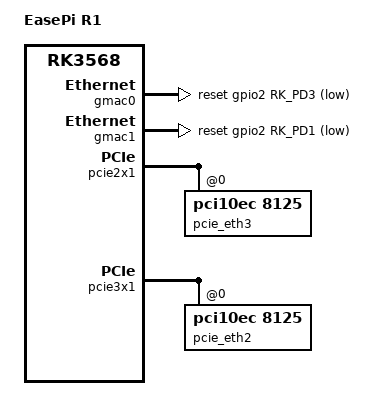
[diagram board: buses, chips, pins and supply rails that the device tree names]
// SPDX-License-Identifier: (GPL-2.0+ OR MIT)

/dts-v1/;

#include <rockchip/rk3568-easepi-r1.dts>
#include "rk3568-ip.dtsi"
#include "rk3568-ip-rk809.dtsi"

/ {
	compatible = "easepi,r1", "rockchip,rk3568";
	model = "EasePi R1";
	eth_order = "fe010000.ethernet,fe2a0000.ethernet,0001:*1:00.0,0000:01:00.0";

	chosen {
		default-firewall = "dual";
		power-key-factory-reset;
	};
};

&gmac0 {
	snps,reset-gpio = <&gpio2 RK_PD3 GPIO_ACTIVE_LOW>;
	snps,reset-active-low;
	/* Reset time is 15ms, 50ms for rtl8211f */
	snps,reset-delays-us = <0 15000 50000>;
};

&gmac1 {
	snps,reset-gpio = <&gpio2 RK_PD1 GPIO_ACTIVE_LOW>;
	snps,reset-active-low;
	/* Reset time is 15ms, 50ms for rtl8211f */
	snps,reset-delays-us = <0 15000 50000>;
};

&rgmii_phy0 {
	realtek,led-data = <0xAC10>;
};

&rgmii_phy1 {
	realtek,led-data = <0xAC10>;
};

&pcie2x1 {
	pcie@00 {
		reg = <0x00000000 0 0 0 0>;
		#address-cells = <3>;
		#size-cells = <2>;

		pcie_eth3: pcie-eth@00,0 {
			compatible = "pci10ec,8125";
			reg = <0x000000 0 0 0 0>;

			realtek,led-data = <0 0 0x200 0x02B>;
			realtek,led-feature = /bits/ 8 <0xC0>;
		};
	};
};

&pcie3x1 {
	pcie@10 {
		reg = <0x00100000 0 0 0 0>;
		#address-cells = <3>;
		#size-cells = <2>;

		pcie_eth2: pcie-eth@10,0 {
			compatible = "pci10ec,8125";
			reg = <0x000000 0 0 0 0>;

			realtek,led-data = <0 0 0x200 0x02B>;
			realtek,led-feature = /bits/ 8 <0xC0>;
		};
	};
};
